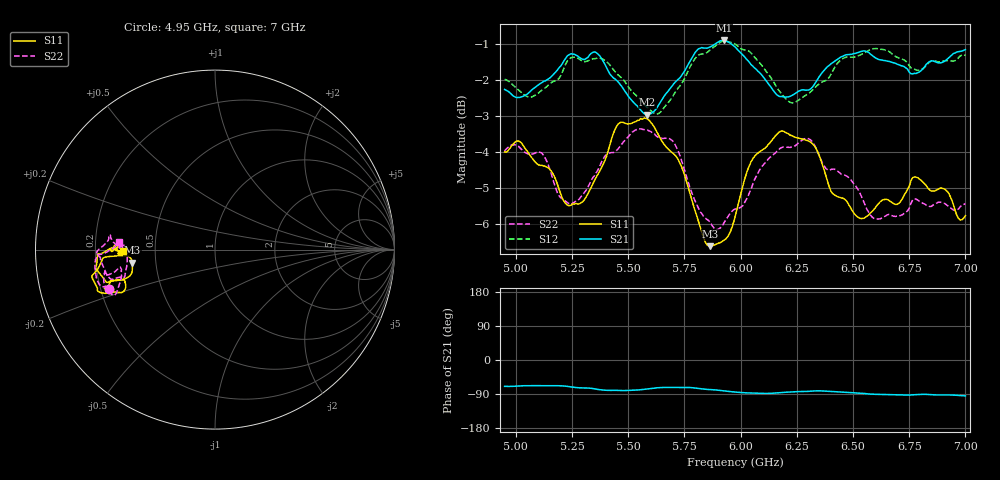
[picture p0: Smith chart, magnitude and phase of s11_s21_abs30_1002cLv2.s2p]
! MS46122B
! 1919307/90821646
! 5/18/2022 2:17:49 PM
! C:\USERS\PC_\DESKTOP\CARACTERIZACION\MEDICIONES\S11_S21_ABS3_1002CLV2.S2P
! CHANNEL.1
! TR.MEASUREMENT
! CORRECTED.DATA
# GHZ S RI R 50.0
! FREQ.GHZ  S11RE  S11IM  S21RE  S21IM  S12RE  S12IM  S22RE  S22IM
!; PortSelection: Port_12
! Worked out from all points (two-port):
!   272 points, 4.95 GHz to 7 GHz, reference 50 ohm
!   highest |S21| = -0.90 dB at 5.926 GHz (marker M1); lowest = -3.0 dB at 5.585 GHz (marker M2)
!   |S21| within 3 dB of the highest: start of sweep to end of sweep
!   lowest |S11| = -6.6 dB at 5.865 GHz (marker M3), VSWR 2.75, Z = 18.3 - j3.43 ohm
!   |S11| at or under -10 dB: nowhere
!   |S22| runs from -6.2 to -3.4 dB; largest |S21 - S12| = 0.05
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4.95  -0.5917 -0.2177  0.2691 -0.7217  0.2934 -0.7396  -0.5921 -0.2223
5.048339  -0.5983 -0.2079  0.2867 -0.7014  0.2672 -0.7043  -0.6142 -0.1289
5.108856  -0.5805 -0.1666  0.2957 -0.7274  0.273 -0.7151  -0.614 -0.1398
5.21476  -0.5108 -0.1683  0.3084 -0.7867  0.3162 -0.7628  -0.5311 -0.0974
5.29797  -0.4968 -0.2054  0.2388 -0.8141  0.267 -0.7994  -0.5237 -0.1666
5.39631  -0.5659 -0.2376  0.1486 -0.8213  0.1825 -0.8254  -0.5677 -0.255
5.487085  -0.6549 -0.2201  0.1244 -0.754  0.1236 -0.7782  -0.6218 -0.2069
5.585424  -0.6852 -0.1461  0.1674 -0.6906  0.164 -0.7077  -0.6693 -0.0956
5.638376  -0.6532 -0.1082  0.2164 -0.7031  0.196 -0.6865  -0.6588 -0.039
5.698893  -0.6259 -0.0507  0.2371 -0.7453  0.2227 -0.7204  -0.6518 -0.0286
5.766974  -0.5611 -0.0366  0.2531 -0.7955  0.2517 -0.7781  -0.5719 0.00513
5.865314  -0.4603 -0.0734  0.1827 -0.8639  0.2254 -0.8447  -0.503 -0.00973
5.92583  -0.4609 -0.1153  0.1322 -0.8914  0.1749 -0.8831  -0.4929 -0.0971
5.978782  -0.4922 -0.1585  0.0804 -0.8769  0.1011 -0.8837  -0.5033 -0.1506
6.099815  -0.6113 -0.173  0.0269 -0.8021  0.0277 -0.8274  -0.5821 -0.1627
6.167897  -0.6616 -0.1089  0.0454 -0.7532  0.036 -0.7685  -0.6288 -0.0798
6.319188  -0.647 -0.0241  0.1101 -0.768  0.0957 -0.7622  -0.6513 -0.00268
6.432657  -0.5458 0.0102  0.0897 -0.8443  0.1264 -0.8289  -0.5865 0.083
6.538561  -0.5092 -0.00144  0.0329 -0.8697  0.0599 -0.8602  -0.5453 0.0245
6.659594  -0.5393 -0.0256  -0.0201 -0.8425  -0.00796 -0.87  -0.516 0.00755
6.780627  -0.5816 0.000168  -0.0192 -0.8105  -0.0299 -0.8192  -0.541 0.0322
7  -0.5141 -0.00701  -0.0709 -0.8723  -0.0568 -0.8574  -0.5323 0.0436
